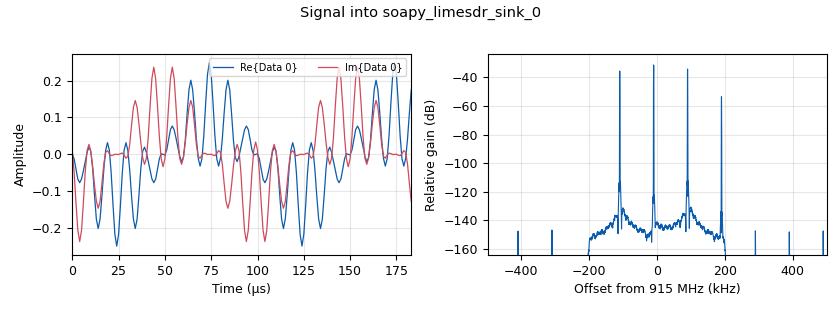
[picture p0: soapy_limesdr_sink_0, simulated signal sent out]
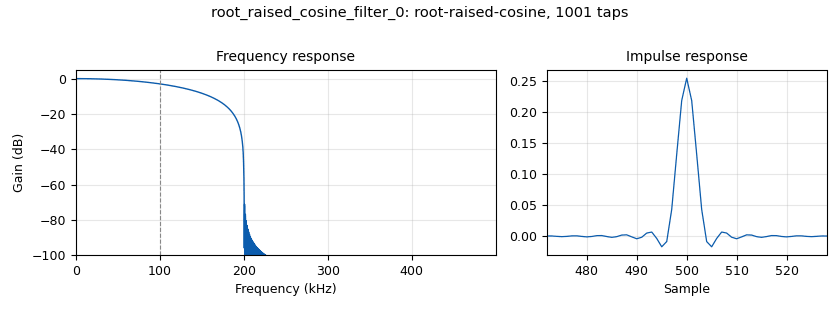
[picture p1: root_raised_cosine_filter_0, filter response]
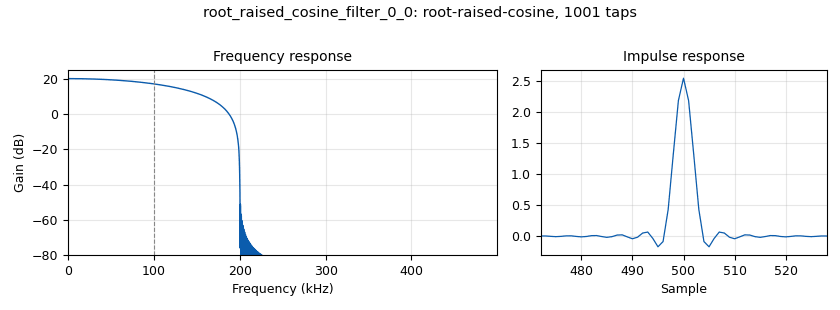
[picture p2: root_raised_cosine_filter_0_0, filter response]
options:
  parameters:
    generate_options: qt_gui
    id: FSK_LB_OTA
    output_language: python
    title: Not titled yet
  states: {}

blocks:
- name: samp_rate
  id: variable
  parameters:
    value: '1000000'
  states: {}
- name: epy_block_0
  id: epy_block
  parameters:
    _source_code: |
      import numpy as np
      from gnuradio import gr

      class blk(gr.sync_block):
          def __init__(self, samp_rate=1e6, fsk_deviation=500e3):
              gr.sync_block.__init__(
                  self,
                  name='FSK Modulation',
                  in_sig=[np.uint8],
                  out_sig=[np.complex64]
              )
              self.samp_rate = samp_rate
              self.fsk_deviation = fsk_deviation
              self.center_freq = 0
              self.phase_inc0 = 2.0 * np.pi * (self.center_freq - self.fsk_deviation) / self.samp_rate
              self.phase_inc1 = 2.0 * np.pi * (self.center_freq + self.fsk_deviation) / self.samp_rate
              self.phase = 0
              self.counter = 0  # Initialize 

          def work(self, input_items, output_items):
              in0 = input_items[0]
              out = output_items[0]

              for i in range(len(in0)):
                  if in0[i] == 0:
                      self.phase += self.phase_inc0
                  else:
                      self.phase += self.phase_inc1
                  out[i] = np.exp(1j * self.phase)
                  if self.phase > 2.0 * np.pi:
                      self.phase -= 2.0 * np.pi

              # Print first 10 modulated bits every 1000 iterations
              #if self.counter % 1000 == 0:
               #   print("Modulated Bits:", in0[:0])
              #self.counter += 1

              return len(output_items[0])
    fsk_deviation: samp_rate/10
    samp_rate: samp_rate
  states: {}
- name: epy_block_1
  id: epy_block
  parameters:
    _source_code: |
      import numpy as np
      from gnuradio import gr
      import sys
      print(sys.path)


      class custom_message_to_bits(gr.basic_block):
          def __init__(self, message="Hello from FSK", interval=10, print_interval=10, preamble=[170, 170]):
              gr.basic_block.__init__(self,
                  name="custom_message_to_bits",
                  in_sig=None,
                  out_sig=[np.uint8])

              self.message = message
              self.interval = int(interval)
              self.print_interval = int(print_interval)
              self.preamble = np.array(preamble, dtype=np.uint8)
              self.message_bytes = np.frombuffer(message.encode('utf-8'), dtype=np.uint8)
              self.set_output_multiple(8 * (len(self.preamble) + len(self.message_bytes) + 1))  # Output in bits
              self.counter = 0
              self.print_counter = 0

          def byte_to_bits(self, byte_array):
              return np.unpackbits(byte_array)

          def general_work(self, input_items, output_items):
              output = output_items[0]
              if self.counter % self.interval == 0:
                  header = np.array([len(self.message_bytes)], dtype=np.uint8)
                  packet = np.concatenate((self.preamble, header, self.message_bytes))
                  packet_bits = self.byte_to_bits(packet)

                  if self.print_counter % self.print_interval == 0:
                      print(f"Header (message length): {header[0]}")
                      print(f"Source Bits: {packet_bits}")

                  self.print_counter += 1
                  output[:len(packet_bits)] = packet_bits
                  produced = len(packet_bits)
              else:
                  zeros_length = 8 * (len(self.preamble) + len(self.message_bytes) + 1)
                  output[:zeros_length] = np.zeros(zeros_length, dtype=np.uint8)
                  produced = zeros_length
              
              self.counter += 1
              self.consume_each(0)  # No input to consume
              return produced
    interval: '10'
    message: '"Hello, This is a test message............."'
    preamble: '[0xAB, 0xCD, 0xEF]'
    print_interval: '10000'
  states: {}
- name: epy_block_12_0
  id: epy_block
  parameters:
    _source_code: "import numpy as np\nfrom gnuradio import gr\n\nclass bits_to_message(gr.sync_block):\n    def __init__(self, preamble=[0xAB, 0xCD, 0xEF], header_length=1):\n        gr.sync_block.__init__(\n            self,\n            name='Bits to Message',\n            in_sig=[np.uint8],\n            out_sig=[]\n        )\n        self.preamble = np.unpackbits(np.array(preamble, dtype=np.uint8))\n        self.header_length = header_length\n        self.buffer = np.array([], dtype=np.uint8)\n        self.max_buffer_size = 1000000  # Set max buffer size\n\n    def detect_preamble(self, data):\n        preamble_length = len(self.preamble)\n        for i in range(len(data) - preamble_length + 1):\n            if np.array_equal(data[i:i + preamble_length], self.preamble):\n                return i + preamble_length\n        return -1\n\n    def work(self, input_items, output_items):\n        self.buffer = np.concatenate((self.buffer, input_items[0]))\n\n        while True:\n            preamble_index = self.detect_preamble(self.buffer)\n            if preamble_index == -1:\n                break\n            \n            header_end = preamble_index + self.header_length * 8\n            if header_end > len(self.buffer):\n                break\n            \n            header = np.array(self.buffer[preamble_index:header_end], dtype=np.uint8)\n            \n            if len(header) == 0:\n                break\n            \n            message_length = np.packbits(header)[0]\n            message_start = header_end\n            message_end = message_start + message_length * 8\n\n            if message_end > len(self.buffer):\n                break\n\n            message_bits = np.array(self.buffer[message_start:message_end], dtype=np.uint8)\n            \n            if len(message_bits) == 0:\n                break\n            \n            message_bytes = np.packbits(message_bits)\n            \n            # Print the decoded message \n            try:\n                message_text = message_bytes.tobytes().decode('utf-8')\n                print(\"Decoded message:\", message_text)\n            except UnicodeDecodeError:\n                pass  \n\n            self.buffer = self.buffer[message_end:]\n\n        # Prevent buffer from growing \n        if len(self.buffer) > self.max_buffer_size:\n            self.buffer = self.buffer[-self.max_buffer_size:]\n\n        self.consume(0, len(input_items[0]))\n        return 0\n\n"
    header_length: '1'
    preamble: '[0xAB, 0xCD, 0xEF]'
  states: {}
- name: epy_block_2
  id: epy_block
  parameters:
    _source_code: |
      import numpy as np
      from gnuradio import gr

      class fsk_demod(gr.sync_block):
          def __init__(self, samp_rate=1e6, fsk_deviation=500e3):
              gr.sync_block.__init__(
                  self,
                  name='FSK Demodulation',
                  in_sig=[np.complex64],
                  out_sig=[np.int8]
              )
              self.samp_rate = samp_rate
              self.fsk_deviation = fsk_deviation
              self.counter = 0  # Initialize the counter

          def work(self, input_items, output_items):
              in0 = input_items[0]
              out = output_items[0]

              for i in range(1, len(in0)):
                  phase_diff = np.angle(in0[i] * np.conj(in0[i-1]))
                  out[i] = 1 if phase_diff > 0 else 0

              # Print first 10 demodulated bits every 1000 iterations
              #if self.counter % 1 == 0:
                  #print("Demodulated Bits:", out[:0])
              #self.counter += 1

              return len(output_items[0])
    fsk_deviation: samp_rate/10
    samp_rate: samp_rate
  states: {}
- name: qtgui_time_sink_x_0
  id: qtgui_time_sink_x
  parameters:
    autoscale: 'True'
    size: '1024'
    srate: samp_rate
    type: complex
  states: {}
- name: root_raised_cosine_filter_0
  id: root_raised_cosine_filter
  parameters:
    alpha: '1'
    decim: '10'
    gain: '1'
    interp: '10'
    ntaps: '1000'
    samp_rate: samp_rate
    sym_rate: samp_rate/5
    type: interp_fir_filter_ccf
  states: {}
- name: root_raised_cosine_filter_0_0
  id: root_raised_cosine_filter
  parameters:
    alpha: '1'
    decim: '10'
    gain: '10'
    ntaps: '1000'
    samp_rate: samp_rate
    sym_rate: samp_rate/5
    type: fir_filter_ccf
  states: {}
- name: soapy_limesdr_sink_0
  id: soapy_limesdr_sink
  parameters:
    bandwidth: samp_rate
    center_freq: 915e6
    gain: '40'
    samp_rate: samp_rate
    type: fc32
  states: {}
- name: soapy_limesdr_source_0
  id: soapy_limesdr_source
  parameters:
    bandwidth: samp_rate
    center_freq: 915e6
    gain: '40'
    samp_rate: samp_rate
    type: fc32
  states: {}

connections:
- [epy_block_0, '0', root_raised_cosine_filter_0, '0']
- [epy_block_1, '0', epy_block_0, '0']
- [epy_block_2, '0', epy_block_12_0, '0']
- [root_raised_cosine_filter_0, '0', soapy_limesdr_sink_0, '0']
- [root_raised_cosine_filter_0_0, '0', epy_block_2, '0']
- [root_raised_cosine_filter_0_0, '0', qtgui_time_sink_x_0, '0']
- [soapy_limesdr_source_0, '0', root_raised_cosine_filter_0_0, '0']

metadata:
  file_format: 1
  grc_version: 3.10.3.0
